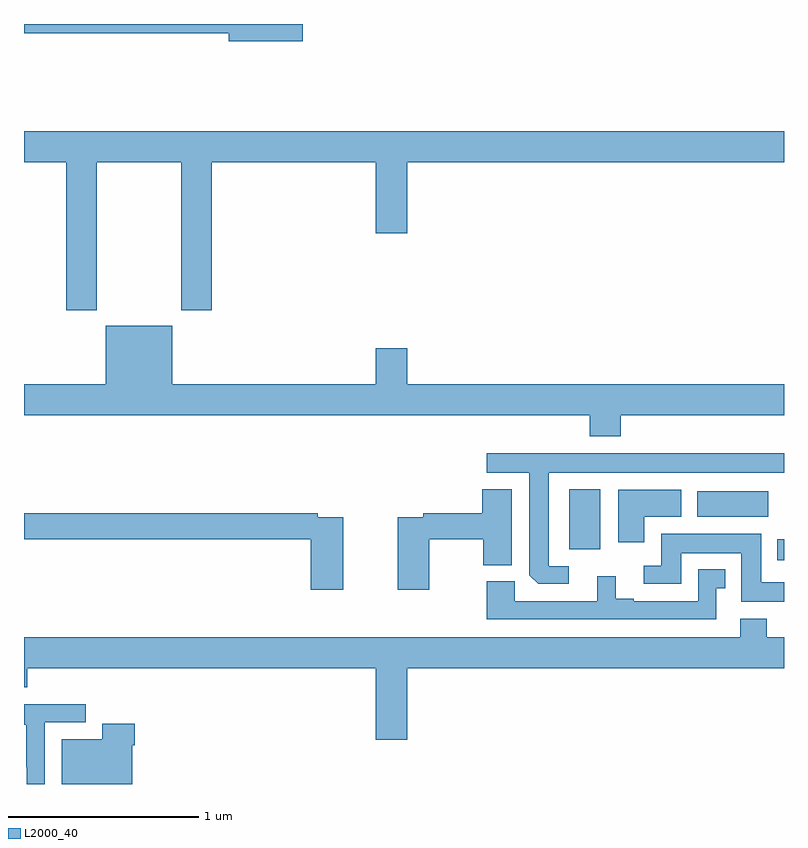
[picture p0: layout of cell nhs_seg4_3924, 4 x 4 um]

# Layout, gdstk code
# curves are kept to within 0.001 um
import gdstk
lib = gdstk.Library(unit=1e-6, precision=1e-09)
def R(c, l, rs):  # rectangles x0, y0, x1, y1
    for r in rs: c.add(gdstk.rectangle(r[:2], r[2:], *l))
def P(c, l, *ps):  # polygons
    for p in ps: c.add(gdstk.Polygon(p, *l))
L2000_40 = (2000, 40)

nhs_seg4_3924 = lib.new_cell('nhs_seg4_3924')
R(nhs_seg4_3924, L2000_40, [(322.964,776.078,323,776.188), (321.869,776.136,322.033,776.452), (322.544,776.306,322.918,776.44)])
P(nhs_seg4_3924, L2000_40, [(320.467,778.9),(319,778.9),(319,778.852),(320.078,778.852),(320.078,778.81),(320.467,778.81)],
  [(319.383,778.172),(319.828,778.172),(319.828,777.393),(319.988,777.393),(319.988,778.172),(320.852,778.172),(320.852,777.798),(321.016,777.798),(321.016,778.172),(323,778.172),(323,778.336),(319,778.336),(319,778.172),(319.223,778.172),(319.223,777.393),(319.383,777.393)],
  [(322.142,776.84),(323,776.84),(323,777.004),(321.016,777.004),(321.016,777.193),(320.852,777.193),(320.852,777.004),(319.78,777.004),(319.78,777.313),(319.43,777.313),(319.43,777.004),(319,777.004),(319,776.84),(321.977,776.84),(321.977,776.729),(322.142,776.729)],
  [(321.868,776.046),(321.763,776.046),(321.763,776.537),(323,776.537),(323,776.641),(321.435,776.641),(321.435,776.537),(321.659,776.537),(321.66,775.999),(321.706,775.953),(321.868,775.953)],
  [(321.132,776.188),(321.418,776.188),(321.418,776.051),(321.568,776.051),(321.568,776.452),(321.413,776.452),(321.413,776.324),(321.1,776.324),(321.1,776.304),(320.966,776.304),(320.966,775.923),(321.132,775.923)],
  [(322.264,776.306),(322.459,776.306),(322.459,776.449),(322.127,776.449),(322.127,776.172),(322.264,776.172)],
  [(320.68,776.304),(320.546,776.304),(320.546,776.324),(319,776.324),(319,776.188),(320.51,776.188),(320.51,775.923),(320.68,775.923)],
  [(323,775.963),(322.879,775.963),(322.879,776.218),(322.355,776.218),(322.355,776.049),(322.263,776.049),(322.263,775.953),(322.459,775.953),(322.459,776.114),(322.775,776.114),(322.775,775.859),(323,775.859)],
  [(322.644,775.929),(322.69,775.929),(322.69,776.029),(322.548,776.029),(322.548,775.863),(322.21,775.863),(322.21,775.876),(322.114,775.876),(322.114,775.993),(322.016,775.993),(322.016,775.863),(321.582,775.863),(321.582,775.966),(321.436,775.966),(321.436,775.767),(322.644,775.767)],
  [(321.016,775.508),(323,775.508),(323,775.672),(322.909,775.672),(322.909,775.771),(322.769,775.771),(322.769,775.672),(319,775.672),(319,775.409),(319.016,775.409),(319.016,775.508),(320.852,775.508),(320.852,775.134),(321.016,775.134)],
  [(319.11,775.224),(319.324,775.224),(319.324,775.32),(319,775.32),(319,775.212),(319.012,775.212),(319.012,774.988),(319.014,774.988),(319.014,774.9),(319.11,774.9)],
  [(319.57,775.103),(319.583,775.103),(319.583,775.216),(319.412,775.216),(319.412,775.135),(319.199,775.135),(319.199,774.9),(319.57,774.9)])

lib.write_gds('nhs_seg4_3924.gds')
